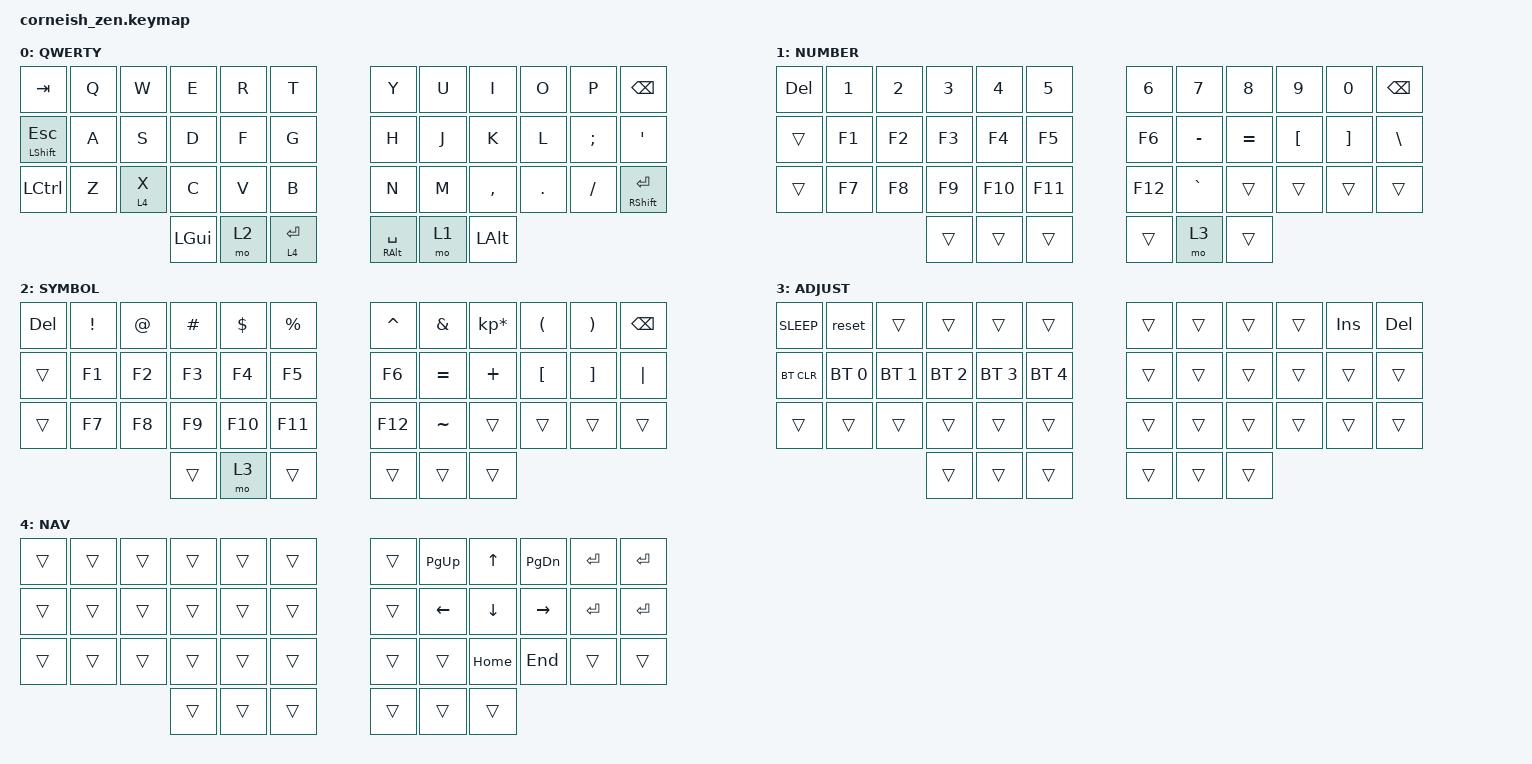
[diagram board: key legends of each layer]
/*
*
* Copyright (c) 2021 Darryl deHaan
* SPDX-License-Identifier: MIT
*
*/

#include <behaviors.dtsi>
#include <dt-bindings/zmk/keys.h>
#include <dt-bindings/zmk/bt.h>

/ {
  chosen {
    zmk,matrix_transform = &default_transform;
    //zmk,matrix_transform = &five_column_transform;
  };
};

/ {
    conditional_layers {
        compatible = "zmk,conditional-layers";
        tri_layer {
            if-layers = <1 2>;
            then-layer = <3>;
        };
    };
};

/ {
        keymap {
                compatible = "zmk,keymap";

                default_layer {
                        label = "QWERTY";
// ------------------------------------------------------------------------------------
// | TAB      |  Q  |  W  |  E  |  R  |  T  |   |  Y  |  U   |  I  |  O  |  P  | BKSP |
// | ESC/CTRL |  A  |  S  |  D  |  F  |  G  |   |  H  |  J   |  K  |  L  |  ;  |  '   |
// | SHIFT    |  Z  |  X  |  C  |  V  |  B  |   |  N  |  M   |  ,  |  .  |  /  | ENT  |
//                    | GUI | LWR | SPC |   | SPC | RSE  | ALT |
                        bindings = <
   &kp TAB       &kp Q &kp W      &kp E &kp R &kp T      &kp Y          &kp U &kp I     &kp O   &kp P    &kp BSPC
   &mt LSHFT ESC &kp A &kp S      &kp D &kp F &kp G      &kp H          &kp J &kp K     &kp L   &kp SEMI &kp SQT
   &kp LCTRL     &kp Z &lt 4 X    &kp C &kp V &kp B      &kp N          &kp M &kp COMMA &kp DOT &kp FSLH &mt RSHFT RET
                      &kp LGUI    &mo 2 &lt 4 RET   &mt RALT SPACE &mo 1 &kp LALT
                        >;
                };
                lower_layer {
                        label = "NUMBER";
// ------------------------------------------------------------------------------
// | DEL |  1  |  2  |  3  |  4  |  5  |   |  6  |  7  |  8  |  9  |  0  | BKSP |
// |     | F1  | F2  | F3  | F4  | F5  |   | F6  |  -  |  =  |  [  |  ]  |  \   |
// |     | F7  | F8  | F9  | F10 | F11 |   | F12 |  `  |     |     |     |      |
//                   |     |     |     |   |     |     |     |
                        bindings = <
   &kp DEL  &kp N1 &kp N2 &kp N3 &kp N4  &kp N5    &kp N6  &kp N7    &kp N8    &kp N9   &kp N0   &kp BSPC
   &trans   &kp F1 &kp F2 &kp F3 &kp F4  &kp F5    &kp F6  &kp MINUS &kp EQUAL &kp LBKT &kp RBKT &kp BSLH
   &trans   &kp F7 &kp F8 &kp F9 &kp F10 &kp F11   &kp F12 &kp GRAVE &trans    &trans   &trans   &trans
                          &trans &trans  &trans    &trans  &mo 3     &trans
                        >;
                };

                raise_layer {
                        label = "SYMBOL";
// -------------------------------------------------------------------------------
// |  DEL |  !  |  @  |  #  |  $  |  %  |   |  ^  |  &  |  *  |  (  |  )  | BKSP |
// |      |  F1 |  F2 |  F3 |  F4 |  F5 |   |  F6 |  _  |  +  |  {  |  }  | "|"  |
// |      |  F7 |  F8 |  F9 | F10 | F11 |   | F12 |  ~  |     |     |     |      |
//                    |     |     |     |   |     |     |     |
                        bindings = <
   &kp DEL &kp EXCL &kp AT &kp HASH &kp DLLR &kp PRCNT   &kp CARET &kp AMPS  &kp KP_MULTIPLY &kp LPAR &kp RPAR &kp BSPC
   &trans  &kp F1   &kp F2 &kp F3   &kp F4   &kp F5      &kp F6    &kp EQUAL &kp PLUS        &kp LBKT &kp RBKT &kp PIPE
   &trans  &kp F7   &kp F8 &kp F9   &kp F10  &kp F11     &kp F12   &kp TILDE &trans          &trans   &trans   &trans
                  	       &trans   &mo 3    &trans      &trans    &trans    &trans
                        >;
                };

                adjust_layer {
                        label = "ADJUST";
// ------------------------------------------------------------------------------------
// | SLEEP | RESET|      |      |      |      |   |     |     |     |     | INS | DEL |
// | BTCLR | BT 0 | BT 1 | BT 2 | BT 3 | BT 4 |   |     |     |     |     |     |     |
// |       |      |      |      |      |      |   |     |     |     |     |     |     |
//                       |      |      |      |   |     |     |     |
                        bindings = <
   &kp K_SLEEP &reset       &trans        &trans        &trans        &trans          &trans &trans &trans &trans &kp INS &kp DEL
   &bt BT_CLR  &bt BT_SEL 0 &bt BT_SEL 1  &bt BT_SEL 2  &bt BT_SEL 3  &bt BT_SEL 4    &trans &trans &trans &trans &trans  &trans
   &trans      &trans       &trans        &trans        &trans        &trans          &trans &trans &trans &trans &trans  &trans
                    	                    &trans        &trans        &trans          &trans &trans &trans
                        >;
                };

                nav_layer {
                        label = "NAV";
// -----------------------------------------------------------------------------
// |     |     |     |     |     |     |   |     | PG↑ |  ↑  | PG↓ |     |     |
// |     |     |     |     |     |     |   |     |  ←  |  ↓  |  →  |     |     |
// |     |     |     |     |     |     |   |     |     | HOM | END |     |     |
//                   |     |     |     |   |     |     |     |
                        bindings = <
   &trans &trans &trans &trans &trans &trans   &trans &kp PG_UP &kp UP   &kp PG_DN &kp RET &kp RET
   &trans &trans &trans &trans &trans &trans   &trans &kp LEFT  &kp DOWN &kp RIGHT &kp RET &kp RET
   &trans &trans &trans &trans &trans &trans   &trans &trans    &kp HOME &kp END   &trans  &trans
                    	  &trans &trans &trans   &trans &trans    &trans
                        >;
                };
        };
};
